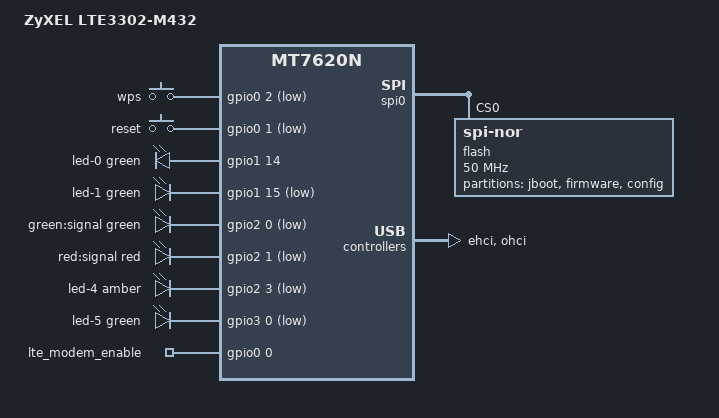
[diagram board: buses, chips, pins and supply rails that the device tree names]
// SPDX-License-Identifier: GPL-2.0-or-later
/*
 * ZyXEL LTE3302-M432 Board Description
 * Copyright 2022 Pawel Dembicki <paweldembicki@gmail.com>
 */
#include "mt7620n.dtsi"

#include <dt-bindings/gpio/gpio.h>
#include <dt-bindings/input/input.h>
#include <dt-bindings/mtd/partitions/uimage.h>
#include <dt-bindings/leds/common.h>

/ {
	compatible = "zyxel,lte-3302-m432", "ralink,mt7620n-soc";
	model = "ZyXEL LTE3302-M432";

	aliases {
		led-boot = &led_signal_green;
		led-failsafe = &led_signal_red;
		led-running = &led_signal_green;
		led-upgrade = &led_signal_red;
	};

	keys {
		compatible = "gpio-keys";

		wps {
			label = "wps";
			gpios = <&gpio0 2 GPIO_ACTIVE_LOW>;
			linux,code = <KEY_WPS_BUTTON>;
		};

		reset {
			label = "reset";
			gpios = <&gpio0 1 GPIO_ACTIVE_LOW>;
			linux,code = <KEY_RESTART>;
		};
	};

	leds {
		compatible = "gpio-leds";

		led-0 {
			function = LED_FUNCTION_LAN;
			color = <LED_COLOR_ID_GREEN>;
			gpios = <&gpio1 14 GPIO_ACTIVE_HIGH>;
		};

		led-1 {
			function = LED_FUNCTION_WAN;
			color = <LED_COLOR_ID_GREEN>;
			gpios = <&gpio1 15 GPIO_ACTIVE_LOW>;
		};

		led_signal_green: led-2 {
			label = "green:signal";
			function = LED_FUNCTION_INDICATOR;
			color = <LED_COLOR_ID_GREEN>;
			gpios = <&gpio2 0 GPIO_ACTIVE_LOW>;
		};

		led_signal_red: led-3 {
			label = "red:signal";
			function = LED_FUNCTION_INDICATOR;
			color = <LED_COLOR_ID_RED>;
			gpios = <&gpio2 1 GPIO_ACTIVE_LOW>;
		};

		led-4 {
			function = LED_FUNCTION_WAN;
			color = <LED_COLOR_ID_AMBER>;
			gpios = <&gpio2 3 GPIO_ACTIVE_LOW>;
		};

		led-5 {
			function = LED_FUNCTION_WLAN;
			color = <LED_COLOR_ID_GREEN>;
			gpios = <&gpio3 0 GPIO_ACTIVE_LOW>;
			linux,default-trigger = "phy0tpt";
		};
	};

	gpio_export {
		compatible = "gpio-export";
		#size-cells = <0>;

		lte_modem_enable {
			gpio-export,name = "lte_modem_enable";
			gpio-export,output = <1>;
			gpios = <&gpio0 0 GPIO_ACTIVE_HIGH>;
		};
	};
};

&gpio1 {
	status = "okay";
};

&gpio2 {
	status = "okay";
};

&gpio3 {
	status = "okay";
};

&spi0 {
	status = "okay";

	flash@0 {
		compatible = "jedec,spi-nor";
		reg = <0>;
		spi-max-frequency = <50000000>;

		partitions {
			compatible = "fixed-partitions";
			#address-cells = <1>;
			#size-cells = <1>;

			partition@0 {
				label = "jboot";
				reg = <0x0 0x10000>;
				read-only;
			};

			partition@10000 {
				compatible = "openwrt,uimage", "denx,uimage";
				openwrt,ih-magic = <IH_MAGIC_OKLI>;
				openwrt,offset = <0x10000>;
				label = "firmware";
				reg = <0x10000 0xfe0000>;
			};

			config: partition@ff0000 {
				label = "config";
				reg = <0xff0000 0x10000>;
				read-only;
			};
		};
	};
};

&ehci {
	status = "okay";
};

&ohci {
	status = "okay";
};

&state_default {
	default {
		groups = "spi refclk", "i2c", "ephy", "wled";
		function = "gpio";
	};
};
